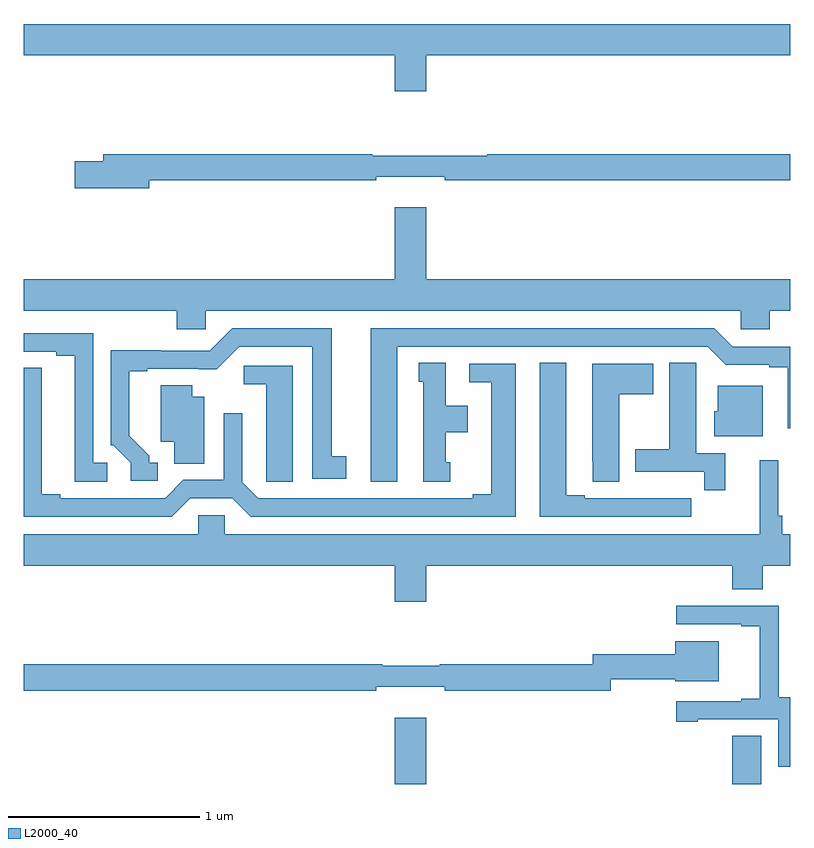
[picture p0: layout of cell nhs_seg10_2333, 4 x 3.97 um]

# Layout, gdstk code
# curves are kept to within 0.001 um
import gdstk
lib = gdstk.Library(unit=1e-6, precision=1e-09)
def R(c, l, rs):  # rectangles x0, y0, x1, y1
    for r in rs: c.add(gdstk.rectangle(r[:2], r[2:], *l))
def P(c, l, *ps):  # polygons
    for p in ps: c.add(gdstk.Polygon(p, *l))
L2000_40 = (2000, 40)

nhs_seg10_2333 = lib.new_cell('nhs_seg10_2333')
R(nhs_seg10_2333, L2000_40, [(236.936,1308.5,237.1,1308.847), (238.697,1308.5,238.849,1308.752)])
P(nhs_seg10_2333, L2000_40, [(237.1,1312.304),(239,1312.304),(239,1312.468),(235,1312.468),(235,1312.304),(236.936,1312.304),(236.936,1312.116),(237.1,1312.116)],
  [(235.654,1311.652),(236.84,1311.652),(236.84,1311.671),(237.196,1311.671),(237.196,1311.652),(239,1311.652),(239,1311.788),(237.419,1311.788),(237.419,1311.781),(236.819,1311.781),(236.819,1311.788),(235.415,1311.788),(235.415,1311.752),(235.266,1311.752),(235.266,1311.61),(235.654,1311.61)],
  [(235.95,1310.972),(238.743,1310.972),(238.743,1310.874),(238.895,1310.874),(238.895,1310.972),(239,1310.972),(239,1311.136),(237.1,1311.136),(237.1,1311.511),(236.936,1311.511),(236.936,1311.136),(235,1311.136),(235,1310.972),(235.799,1310.972),(235.799,1310.874),(235.95,1310.874)],
  [(235.699,1310.178),(235.654,1310.178),(235.654,1310.213),(235.549,1310.318),(235.549,1310.655),(235.645,1310.655),(235.645,1310.667),(236.006,1310.666),(236.124,1310.784),(236.504,1310.784),(236.504,1310.094),(236.683,1310.094),(236.683,1310.21),(236.608,1310.21),(236.608,1310.88),(236.088,1310.88),(235.971,1310.763),(235.715,1310.763),(235.715,1310.765),(235.452,1310.765),(235.452,1310.268),(235.467,1310.268),(235.557,1310.178),(235.557,1310.082),(235.699,1310.082)],
  [(236.95,1310.784),(238.569,1310.784),(238.665,1310.688),(238.892,1310.688),(238.892,1310.676),(238.988,1310.676),(238.988,1310.358),(239,1310.358),(239,1310.784),(238.701,1310.784),(238.605,1310.88),(236.81,1310.88),(236.81,1310.079),(236.95,1310.079)],
  [(235.435,1310.178),(235.362,1310.178),(235.362,1310.853),(235,1310.853),(235,1310.757),(235.169,1310.757),(235.169,1310.737),(235.265,1310.737),(235.265,1310.077),(235.435,1310.077)],
  [(238.483,1309.992),(238.37,1309.992),(238.37,1309.993),(238.204,1309.993),(238.204,1309.992),(237.928,1309.992),(237.928,1310.007),(237.832,1310.007),(237.832,1310.699),(237.692,1310.699),(237.692,1309.896),(238.483,1309.896)],
  [(238.661,1310.226),(238.51,1310.226),(238.51,1310.588),(238.509,1310.588),(238.509,1310.699),(238.37,1310.699),(238.37,1310.247),(238.193,1310.247),(238.193,1310.13),(238.552,1310.13),(238.552,1310.034),(238.661,1310.034)],
  [(237.226,1310.181),(237.202,1310.181),(237.202,1310.336),(237.316,1310.336),(237.316,1310.476),(237.202,1310.476),(237.202,1310.699),(237.062,1310.699),(237.062,1310.601),(237.086,1310.601),(237.086,1310.079),(237.226,1310.079)],
  [(238.108,1310.536),(238.285,1310.536),(238.285,1310.695),(237.968,1310.695),(237.968,1310.185),(237.969,1310.185),(237.969,1310.077),(238.108,1310.077)],
  [(235.869,1309.992),(236.087,1309.992),(236.183,1309.896),(237.568,1309.896),(237.568,1310.694),(237.324,1310.694),(237.324,1310.598),(237.44,1310.598),(237.44,1310.012),(237.344,1310.012),(237.344,1309.992),(236.223,1309.992),(236.139,1310.076),(236.139,1310.437),(236.043,1310.437),(236.043,1310.088),(235.833,1310.088),(235.737,1309.992),(235.189,1309.992),(235.189,1310.012),(235.093,1310.012),(235.093,1310.672),(235,1310.672),(235,1309.896),(235.773,1309.896)],
  [(236.404,1310.685),(236.148,1310.685),(236.148,1310.588),(236.264,1310.588),(236.264,1310.185),(236.265,1310.185),(236.265,1310.077),(236.404,1310.077)],
  [(235.942,1310.521),(235.879,1310.521),(235.879,1310.582),(235.715,1310.582),(235.715,1310.288),(235.784,1310.288),(235.784,1310.173),(235.942,1310.173)],
  [(238.858,1310.578),(238.622,1310.578),(238.622,1310.445),(238.604,1310.445),(238.604,1310.315),(238.858,1310.315)],
  [(237.1,1309.64),(238.697,1309.64),(238.697,1309.516),(238.857,1309.516),(238.857,1309.64),(239,1309.64),(239,1309.804),(238.958,1309.804),(238.958,1309.9),(238.938,1309.9),(238.938,1310.191),(238.841,1310.191),(238.841,1309.804),(236.049,1309.804),(236.049,1309.902),(235.911,1309.902),(235.911,1309.804),(235,1309.804),(235,1309.64),(236.936,1309.64),(236.936,1309.452),(237.1,1309.452)],
  [(239,1308.953),(238.941,1308.953),(238.941,1309.431),(238.407,1309.431),(238.407,1309.335),(238.745,1309.335),(238.745,1309.323),(238.841,1309.323),(238.841,1308.946),(238.745,1308.946),(238.745,1308.933),(238.407,1308.933),(238.407,1308.825),(238.519,1308.825),(238.519,1308.837),(238.938,1308.837),(238.938,1308.591),(239,1308.591)],
  [(236.84,1309.007),(237.196,1309.007),(237.196,1308.988),(238.065,1308.988),(238.065,1309.048),(238.4,1309.048),(238.4,1309.037),(238.627,1309.037),(238.627,1309.246),(238.4,1309.246),(238.4,1309.177),(237.969,1309.177),(237.969,1309.124),(237.172,1309.124),(237.172,1309.117),(236.872,1309.117),(236.872,1309.124),(235,1309.124),(235,1308.988),(236.84,1308.988)])

lib.write_gds('nhs_seg10_2333.gds')
